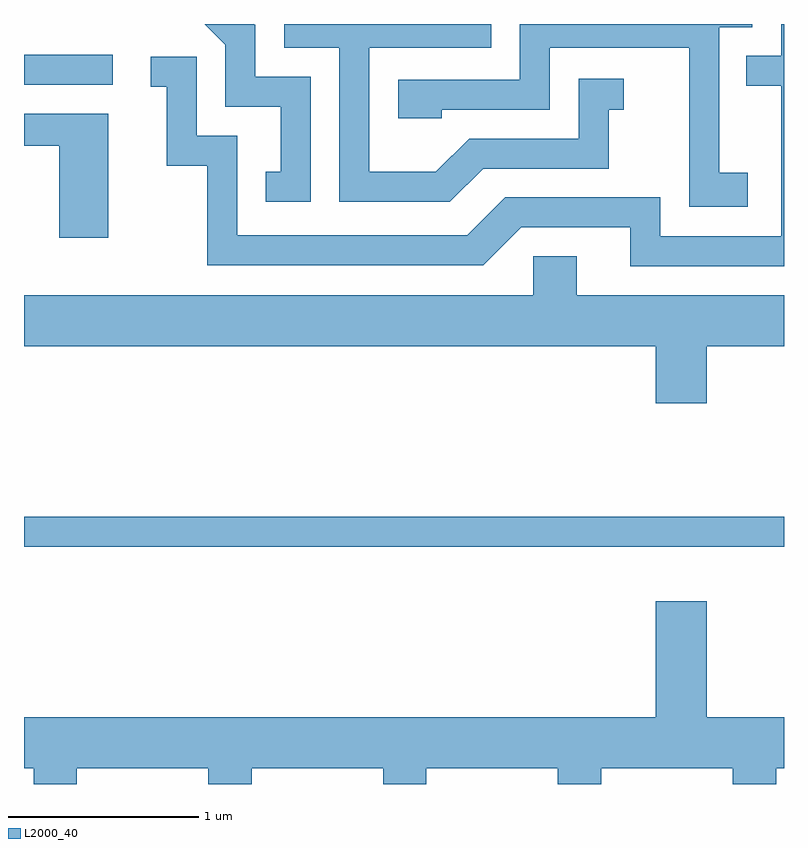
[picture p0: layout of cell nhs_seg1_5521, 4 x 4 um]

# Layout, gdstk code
import gdstk
lib = gdstk.Library(unit=1e-6, precision=1e-09)
def R(c, l, rs):  # rectangles x0, y0, x1, y1
    for r in rs: c.add(gdstk.rectangle(r[:2], r[2:], *l))
def P(c, l, *ps):  # polygons
    for p in ps: c.add(gdstk.Polygon(p, *l))
L2000_40 = (2000, 40)

nhs_seg1_5521 = lib.new_cell('nhs_seg1_5521')
R(nhs_seg1_5521, L2000_40, [(351.611,902.961,355.611,903.119), (351.611,905.391,352.078,905.549)])
P(nhs_seg1_5521, L2000_40, [(353.119,905.434),(352.829,905.434),(352.829,905.707),(352.824,905.712),(352.563,905.712),(352.671,905.604),(352.671,905.276),(352.961,905.276),(352.961,904.934),(352.883,904.934),(352.883,904.776),(353.119,904.776)],
  [(354.027,904.951),(354.689,904.951),(354.689,905.261),(354.768,905.261),(354.768,905.424),(354.531,905.424),(354.531,905.109),(353.954,905.109),(353.779,904.934),(353.429,904.934),(353.429,905.586),(354.069,905.586),(354.069,905.712),(352.981,905.712),(352.981,905.586),(353.271,905.586),(353.271,904.776),(353.852,904.776)],
  [(355.419,904.929),(355.269,904.929),(355.269,905.696),(355.444,905.696),(355.444,905.712),(354.221,905.712),(354.221,905.419),(353.581,905.419),(353.581,905.216),(353.809,905.216),(353.809,905.261),(354.379,905.261),(354.379,905.586),(355.111,905.586),(355.111,904.751),(355.419,904.751)],
  [(355.611,905.712),(355.596,905.712),(355.596,905.544),(355.413,905.544),(355.413,905.386),(355.596,905.386),(355.596,904.594),(354.959,904.594),(354.959,904.799),(354.144,904.799),(353.944,904.599),(352.734,904.599),(352.734,905.124),(352.519,905.124),(352.519,905.539),(352.278,905.539),(352.278,905.381),(352.361,905.381),(352.361,904.966),(352.576,904.966),(352.576,904.441),(354.027,904.441),(354.227,904.641),(354.801,904.641),(354.801,904.436),(355.611,904.436)],
  [(352.054,905.239),(351.611,905.239),(351.611,905.071),(351.796,905.071),(351.796,904.586),(352.054,904.586)],
  [(355.204,904.016),(355.611,904.016),(355.611,904.284),(354.519,904.284),(354.519,904.489),(354.291,904.489),(354.291,904.284),(351.611,904.284),(351.611,904.016),(354.936,904.016),(354.936,903.716),(355.204,903.716)],
  [(351.889,901.796),(352.581,901.796),(352.581,901.712),(352.809,901.712),(352.809,901.796),(353.501,901.796),(353.501,901.712),(353.729,901.712),(353.729,901.796),(354.421,901.796),(354.421,901.712),(354.649,901.712),(354.649,901.796),(355.341,901.796),(355.341,901.712),(355.569,901.712),(355.569,901.796),(355.611,901.796),(355.611,902.064),(355.204,902.064),(355.204,902.674),(354.936,902.674),(354.936,902.064),(351.611,902.064),(351.611,901.796),(351.661,901.796),(351.661,901.712),(351.889,901.712)])

lib.write_gds('nhs_seg1_5521.gds')
